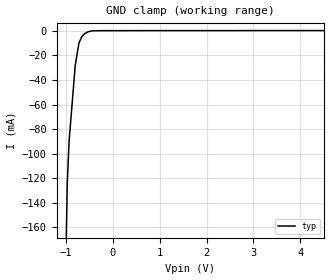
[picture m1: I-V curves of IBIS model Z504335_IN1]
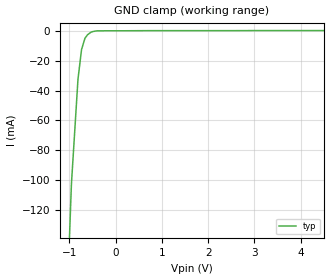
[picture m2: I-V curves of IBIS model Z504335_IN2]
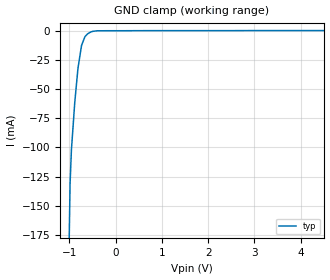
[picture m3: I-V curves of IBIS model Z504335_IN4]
| YOU ARE ONLY AUTHORIZED TO USE THIS SOFTWARE
| ACCORDING TO LICENSOR'S LICENSE RESTRICTIONS.
[IBIS Ver] 3.1
[File Name] mc74lcx157d.ibs
[File Rev] 2.0
[Source] Measured and created by ICX Technology
[Date] Friday 7/14/00 9:08:12 AM
[Copyright]
| (C) COPYRIGHT 1993-2000
| MENTOR GRAPHICS CORPORATION
| ICX STANDARD LIBRARY, ICX PROJECT MODELING,
| ICX CUSTOM MODELING, ICX VENDOR MODEL
| ALL RIGHTS RESERVED.
| THE FOLLOWING ARE TRADEMARKS OR SERVICE MARKS OF
| MENTOR GRAPHICS CORPORATION:ICX (R), ICX STANDARD
| LIBRARY(R), ICX PROJECT MODELING(R), ICX CUSTOM
| MODELING(R), qualityIBIS(TM), MODELVIEWER(TM),
| AND MODELEDITOR(TM)
| ALL COPIES OF SOFTWARE, INCLUDING BUT NOT LIMITED TO
| ANY MODIFICATIONS, ENHANCEMENTS OR DERIVATIVE WORKS,
| MUST CONTAIN ALL MENTOR GRAPHICS CORPORATION'S
| NOTICES AND LEGENDS, INCLUDING THOSE EMBEDDED IN
| SOFTWARE AND THOSE AFFIXED TO SOFTWARE MEDIUM
| AND CONTAINER, AS RECEIVED FROM MENTOR GRAPHICS
| CORPORATION.
|  ZAP Model Builder 2.7
[Component] MC74LCX157D
[Manufacturer] OnSemiconductor
[Package]
| variable   typ   min   max
R_pkg  .156ohms NA NA
L_pkg  3.148nH NA NA
C_pkg  .388pF NA NA
[Pin] signal_name  model_name  R_pin  L_pin C_pin
1 B_A Z504335_IN1 .162 3.798n .418p
2 A0 Z504335_IN2 .158 3.358n .398p
3 B0 Z504335_IN2 .154 2.928n .378p
4 Y0 Z504335_OUT3 .15 2.508n .358p
5 A1 Z504335_IN2 .15 2.508n .358p
6 B1 Z504335_IN2 .154 2.928n .378p
7 Y1 Z504335_OUT3 .158 3.358n .398p
8 GROUND GND .162 3.798n .418p
9 Y2 Z504335_OUT3 .162 3.798n .418p
10 B2 Z504335_IN2 .158 3.358n .398p
11 A2 Z504335_IN2 .154 2.928n .378p
12 Y3 Z504335_OUT3 .15 2.508n .358p
13 B3 Z504335_IN2 .15 2.508n .358p
14 A3 Z504335_IN2 .154 2.928n .378p
15 _G Z504335_IN4 .158 3.358n .398p
16 VCC POWER .162 3.798n .418p
| Models and submodels in the file (4): Z504335_IN1 (Input), Z504335_IN2 (Input), Z504335_IN4 (Input), Z504335_OUT3 (Output)
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| (C) COPYRIGHT 1993-2000
| MENTOR GRAPHICS CORPORATION
| ICX STANDARD LIBRARY, ICX PROJECT MODELING,
| ICX CUSTOM MODELING, ICX VENDOR MODEL
| ALL RIGHTS RESERVED.
| THE FOLLOWING ARE TRADEMARKS OR SERVICE MARKS OF
| MENTOR GRAPHICS CORPORATION:ICX (R), ICX STANDARD
| LIBRARY(R), ICX PROJECT MODELING(R), ICX CUSTOM
| MODELING(R), qualityIBIS(TM), MODELVIEWER(TM),
| AND MODELEDITOR(TM)
| ALL COPIES OF SOFTWARE, INCLUDING BUT NOT LIMITED TO
| ANY MODIFICATIONS, ENHANCEMENTS OR DERIVATIVE WORKS,
| MUST CONTAIN ALL MENTOR GRAPHICS CORPORATION'S
| NOTICES AND LEGENDS, INCLUDING THOSE EMBEDDED IN
| SOFTWARE AND THOSE AFFIXED TO SOFTWARE MEDIUM
| AND CONTAINER, AS RECEIVED FROM MENTOR GRAPHICS
| CORPORATION.
| Model Application Version 1.89 2/18/99.
[Model] Z504335_IN1
Model_type Input
Vinl = 800.0mV
Vinh = 2.000V
C_comp 4.000pF NA NA
| variable typ   min   max
[Voltage Range] 3.300V NA NA
[GND Clamp Reference] 0.000V NA NA
[POWER Clamp Reference] 3.300V NA NA
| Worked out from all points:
|   GND clamp passes 1 mA (typ) near -0.54 V on its own axis
[GND Clamp]
-3.3V     -1.829A    NA         NA
-1.019V   -228.3mA   NA         NA
-971.7mV  -125.1mA   NA         NA
-931.8mV  -89.71mA   NA         NA
-800.2mV  -27.82mA   NA         NA
-722.2mV  -10mA      NA         NA
-663.9mV  -4.934mA   NA         NA
-607.4mV  -2.527mA   NA         NA
-532.2mV  -820.1uA   NA         NA
-410.2mV  97.66uA    NA         NA
-205.1mV  158.5uA    NA         NA
6.6V      242uA      NA         NA
[POWER Clamp]
-3.3V     0A         NA         NA
6.6V      0A         NA         NA
| (C) COPYRIGHT 1993-2000
| MENTOR GRAPHICS CORPORATION
| ICX STANDARD LIBRARY, ICX PROJECT MODELING,
| ICX CUSTOM MODELING, ICX VENDOR MODEL
| ALL RIGHTS RESERVED.
| THE FOLLOWING ARE TRADEMARKS OR SERVICE MARKS OF
| MENTOR GRAPHICS CORPORATION:ICX (R), ICX STANDARD
| LIBRARY(R), ICX PROJECT MODELING(R), ICX CUSTOM
| MODELING(R), qualityIBIS(TM), MODELVIEWER(TM),
| AND MODELEDITOR(TM)
| ALL COPIES OF SOFTWARE, INCLUDING BUT NOT LIMITED TO
| ANY MODIFICATIONS, ENHANCEMENTS OR DERIVATIVE WORKS,
| MUST CONTAIN ALL MENTOR GRAPHICS CORPORATION'S
| NOTICES AND LEGENDS, INCLUDING THOSE EMBEDDED IN
| SOFTWARE AND THOSE AFFIXED TO SOFTWARE MEDIUM
| AND CONTAINER, AS RECEIVED FROM MENTOR GRAPHICS
| CORPORATION.
| Model Application Version 1.89 2/18/99.
[Model] Z504335_IN2
Model_type Input
Vinl = 800.0mV
Vinh = 2.000V
C_comp 4.000pF NA NA
| variable typ   min   max
[Voltage Range] 3.300V NA NA
[GND Clamp Reference] 0.000V NA NA
[POWER Clamp Reference] 3.300V NA NA
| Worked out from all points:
|   GND clamp passes 1 mA (typ) near -0.54 V on its own axis
[GND Clamp]
-3.3V     -1.889A    NA         NA
-1.02V    -156.8mA   NA         NA
-956.6mV  -102.9mA   NA         NA
-814.5mV  -32.36mA   NA         NA
-737.3mV  -12.46mA   NA         NA
-663.6mV  -4.9mA     NA         NA
-606.5mV  -2.504mA   NA         NA
-532mV    -828.7uA   NA         NA
-410.2mV  51.12uA    NA         NA
-205.1mV  123.4uA    NA         NA
6.6V      259.6uA    NA         NA
[POWER Clamp]
-3.3V     0A         NA         NA
6.6V      0A         NA         NA
| (C) COPYRIGHT 1993-2000
| MENTOR GRAPHICS CORPORATION
| ICX STANDARD LIBRARY, ICX PROJECT MODELING,
| ICX CUSTOM MODELING, ICX VENDOR MODEL
| ALL RIGHTS RESERVED.
| THE FOLLOWING ARE TRADEMARKS OR SERVICE MARKS OF
| MENTOR GRAPHICS CORPORATION:ICX (R), ICX STANDARD
| LIBRARY(R), ICX PROJECT MODELING(R), ICX CUSTOM
| MODELING(R), qualityIBIS(TM), MODELVIEWER(TM),
| AND MODELEDITOR(TM)
| ALL COPIES OF SOFTWARE, INCLUDING BUT NOT LIMITED TO
| ANY MODIFICATIONS, ENHANCEMENTS OR DERIVATIVE WORKS,
| MUST CONTAIN ALL MENTOR GRAPHICS CORPORATION'S
| NOTICES AND LEGENDS, INCLUDING THOSE EMBEDDED IN
| SOFTWARE AND THOSE AFFIXED TO SOFTWARE MEDIUM
| AND CONTAINER, AS RECEIVED FROM MENTOR GRAPHICS
| CORPORATION.
| Model Application Version 1.89 2/18/99.
[Model] Z504335_IN4
Model_type Input
Vinl = 800.0mV
Vinh = 2.000V
C_comp 4.000pF NA NA
| variable typ   min   max
[Voltage Range] 3.300V NA NA
[GND Clamp Reference] 0.000V NA NA
[POWER Clamp Reference] 3.300V NA NA
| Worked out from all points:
|   GND clamp passes 1 mA (typ) near -0.54 V on its own axis
[GND Clamp]
-3.3V     -1.806A    NA         NA
-1.022V   -223.8mA   NA         NA
-985.8mV  -131.8mA   NA         NA
-957mV    -102.5mA   NA         NA
-883.8mV  -61.29mA   NA         NA
-814.7mV  -32.09mA   NA         NA
-737.3mV  -12.47mA   NA         NA
-663.4mV  -4.933mA   NA         NA
-606.1mV  -2.543mA   NA         NA
-531.9mV  -835.3uA   NA         NA
-205.1mV  111.8uA    NA         NA
6.6V      260.4uA    NA         NA
[POWER Clamp]
-3.3V     0A         NA         NA
6.6V      0A         NA         NA
